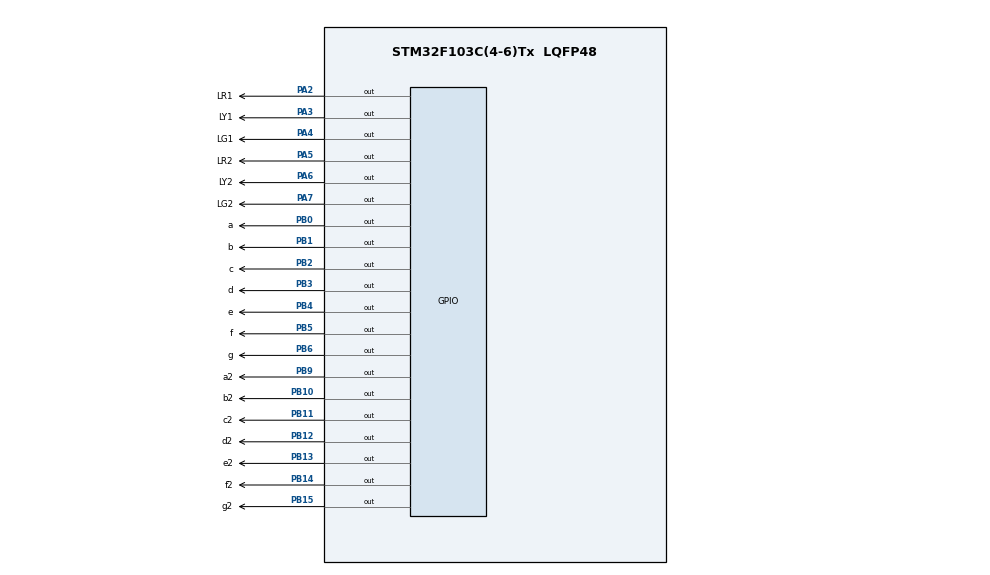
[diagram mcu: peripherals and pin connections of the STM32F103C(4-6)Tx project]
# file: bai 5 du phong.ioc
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Mcu.Family=STM32F1
Mcu.Name=STM32F103C(4-6)Tx
Mcu.Package=LQFP48
NVIC.PriorityGroup=NVIC_PRIORITYGROUP_4
PA2.GPIO_Label=LR1
PA2.Signal=GPIO_Output
PA3.GPIO_Label=LY1
PA3.Signal=GPIO_Output
PA4.GPIO_Label=LG1
PA4.Signal=GPIO_Output
PA5.GPIO_Label=LR2
PA5.Signal=GPIO_Output
PA6.GPIO_Label=LY2
PA6.Signal=GPIO_Output
PA7.GPIO_Label=LG2
PA7.Signal=GPIO_Output
PB0.GPIO_Label=a
PB0.Signal=GPIO_Output
PB1.GPIO_Label=b
PB1.Signal=GPIO_Output
PB10.GPIO_Label=b2
PB10.Signal=GPIO_Output
PB11.GPIO_Label=c2
PB11.Signal=GPIO_Output
PB12.GPIO_Label=d2
PB12.Signal=GPIO_Output
PB13.GPIO_Label=e2
PB13.Signal=GPIO_Output
PB14.GPIO_Label=f2
PB14.Signal=GPIO_Output
PB15.GPIO_Label=g2
PB15.Signal=GPIO_Output
PB2.GPIO_Label=c
PB2.Signal=GPIO_Output
PB3.GPIO_Label=d
PB3.Signal=GPIO_Output
PB4.GPIO_Label=e
PB4.Signal=GPIO_Output
PB5.GPIO_Label=f
PB5.Signal=GPIO_Output
PB6.GPIO_Label=g
PB6.Signal=GPIO_Output
PB9.GPIO_Label=a2
PB9.Signal=GPIO_Output
ProjectManager.HeapSize=0x200
ProjectManager.StackSize=0x400
ProjectManager.TargetToolchain=STM32CubeIDE
RCC.APB1Freq_Value=8000000
RCC.APB2Freq_Value=8000000
board=custom

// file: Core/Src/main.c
/* USER CODE BEGIN Header */
/**
  ******************************************************************************
  * @file           : main.c
  * @brief          : Main program body
  ******************************************************************************
  * @attention
  *
  * Copyright (c) 2024 STMicroelectronics.
  * All rights reserved.
  *
  * This software is licensed under terms that can be found in the LICENSE file
  * in the root directory of this software component.
  * If no LICENSE file comes with this software, it is provided AS-IS.
  *
  ******************************************************************************
  */
/* USER CODE END Header */
#include "main.h"

void SystemClock_Config(void);
static void MX_GPIO_Init(void);

/* USER CODE BEGIN 0 */
void display7SEG(int num) {
	  HAL_GPIO_WritePin(GPIOB,a_Pin,GPIO_PIN_SET);
	  HAL_GPIO_WritePin(GPIOB,b_Pin,GPIO_PIN_SET);
	  HAL_GPIO_WritePin(GPIOB,c_Pin,GPIO_PIN_SET);
	  HAL_GPIO_WritePin(GPIOB,d_Pin,GPIO_PIN_SET);
	  HAL_GPIO_WritePin(GPIOB,e_Pin,GPIO_PIN_SET);
	  HAL_GPIO_WritePin(GPIOB,f_Pin,GPIO_PIN_SET);
	  HAL_GPIO_WritePin(GPIOB,g_Pin,GPIO_PIN_SET);
    switch (num) {
        case 0:
            //printf("Segments: a, b, c, d, e, f\n");
      	  HAL_GPIO_WritePin(GPIOB,a_Pin,GPIO_PIN_RESET);
      	  HAL_GPIO_WritePin(GPIOB,b_Pin,GPIO_PIN_RESET);
      	  HAL_GPIO_WritePin(GPIOB,c_Pin,GPIO_PIN_RESET);
      	  HAL_GPIO_WritePin(GPIOB,d_Pin,GPIO_PIN_RESET);
      	  HAL_GPIO_WritePin(GPIOB,e_Pin,GPIO_PIN_RESET);
      	  HAL_GPIO_WritePin(GPIOB,f_Pin,GPIO_PIN_RESET);
      	  HAL_GPIO_WritePin(GPIOB,g_Pin,GPIO_PIN_SET);
            break;
        case 1:
//              printf("Segments: b, c\n");
      	  HAL_GPIO_WritePin(GPIOB,a_Pin,GPIO_PIN_SET);
      	  HAL_GPIO_WritePin(GPIOB,b_Pin,GPIO_PIN_RESET);
      	  HAL_GPIO_WritePin(GPIOB,c_Pin,GPIO_PIN_RESET);
      	  HAL_GPIO_WritePin(GPIOB,d_Pin,GPIO_PIN_SET);
      	  HAL_GPIO_WritePin(GPIOB,e_Pin,GPIO_PIN_SET);
      	  HAL_GPIO_WritePin(GPIOB,f_Pin,GPIO_PIN_SET);
      	  HAL_GPIO_WritePin(GPIOB,g_Pin,GPIO_PIN_SET);
            break;
        case 2:
//              printf("Segments: a, b, d, e, g\n");
      	  HAL_GPIO_WritePin(GPIOB,a_Pin,GPIO_PIN_RESET);
      	  HAL_GPIO_WritePin(GPIOB,b_Pin,GPIO_PIN_RESET);
      	  HAL_GPIO_WritePin(GPIOB,c_Pin,GPIO_PIN_SET);
      	  HAL_GPIO_WritePin(GPIOB,d_Pin,GPIO_PIN_RESET);
      	  HAL_GPIO_WritePin(GPIOB,e_Pin,GPIO_PIN_RESET);
      	  HAL_GPIO_WritePin(GPIOB,f_Pin,GPIO_PIN_SET);
      	  HAL_GPIO_WritePin(GPIOB,g_Pin,GPIO_PIN_RESET);
            break;
        case 3:
//              printf("Segments: a, b, c, d, g\n");
      	  HAL_GPIO_WritePin(GPIOB,a_Pin,GPIO_PIN_RESET);
      	  HAL_GPIO_WritePin(GPIOB,b_Pin,GPIO_PIN_RESET);
      	  HAL_GPIO_WritePin(GPIOB,c_Pin,GPIO_PIN_RESET);
      	  HAL_GPIO_WritePin(GPIOB,d_Pin,GPIO_PIN_RESET);
      	  HAL_GPIO_WritePin(GPIOB,e_Pin,GPIO_PIN_SET);
      	  HAL_GPIO_WritePin(GPIOB,f_Pin,GPIO_PIN_SET);
      	  HAL_GPIO_WritePin(GPIOB,g_Pin,GPIO_PIN_RESET);
            break;
        case 4:
//              printf("Segments: b, c, f, g\n");
      	  HAL_GPIO_WritePin(GPIOB,a_Pin,GPIO_PIN_SET);
      	  HAL_GPIO_WritePin(GPIOB,b_Pin,GPIO_PIN_RESET);
      	  HAL_GPIO_WritePin(GPIOB,c_Pin,GPIO_PIN_RESET);
      	  HAL_GPIO_WritePin(GPIOB,d_Pin,GPIO_PIN_SET);
      	  HAL_GPIO_WritePin(GPIOB,e_Pin,GPIO_PIN_SET);
      	  HAL_GPIO_WritePin(GPIOB,f_Pin,GPIO_PIN_RESET);
      	  HAL_GPIO_WritePin(GPIOB,g_Pin,GPIO_PIN_RESET);
            break;
        case 5:
//              printf("Segments: a, c, d, f, g\n");
      	  HAL_GPIO_WritePin(GPIOB,a_Pin,GPIO_PIN_RESET);
      	  HAL_GPIO_WritePin(GPIOB,b_Pin,GPIO_PIN_SET);
      	  HAL_GPIO_WritePin(GPIOB,c_Pin,GPIO_PIN_RESET);
      	  HAL_GPIO_WritePin(GPIOB,d_Pin,GPIO_PIN_RESET);
      	  HAL_GPIO_WritePin(GPIOB,e_Pin,GPIO_PIN_SET);
      	  HAL_GPIO_WritePin(GPIOB,f_Pin,GPIO_PIN_RESET);
      	  HAL_GPIO_WritePin(GPIOB,g_Pin,GPIO_PIN_RESET);
            break;
        case 6:
//              printf("Segments: a, c, d, e, f, g\n");
      	  HAL_GPIO_WritePin(a_GPIO_Port,a_Pin,GPIO_PIN_RESET);
      	  HAL_GPIO_WritePin(b_GPIO_Port,b_Pin,GPIO_PIN_SET);
      	  HAL_GPIO_WritePin(c_GPIO_Port,c_Pin,GPIO_PIN_RESET);
      	  HAL_GPIO_WritePin(d_GPIO_Port,d_Pin,GPIO_PIN_RESET);
      	  HAL_GPIO_WritePin(e_GPIO_Port,e_Pin,GPIO_PIN_RESET);
      	  HAL_GPIO_WritePin(f_GPIO_Port,f_Pin,GPIO_PIN_RESET);
      	  HAL_GPIO_WritePin(g_GPIO_Port,g_Pin,GPIO_PIN_RESET);
            break;
        case 7:
//              printf("Segments: a, b, c\n");
      	  HAL_GPIO_WritePin(a_GPIO_Port,a_Pin,GPIO_PIN_RESET);
      	  HAL_GPIO_WritePin(b_GPIO_Port,b_Pin,GPIO_PIN_RESET);
      	  HAL_GPIO_WritePin(c_GPIO_Port,c_Pin,GPIO_PIN_RESET);
      	  HAL_GPIO_WritePin(d_GPIO_Port,d_Pin,GPIO_PIN_SET);
      	  HAL_GPIO_WritePin(e_GPIO_Port,e_Pin,GPIO_PIN_SET);
      	  HAL_GPIO_WritePin(f_GPIO_Port,f_Pin,GPIO_PIN_SET);
      	  HAL_GPIO_WritePin(g_GPIO_Port,g_Pin,GPIO_PIN_SET);
            break;
        case 8:
//              printf("Segments: a, b, c, d, e, f, g\n");
      	  HAL_GPIO_WritePin(a_GPIO_Port,a_Pin,GPIO_PIN_RESET);
      	  HAL_GPIO_WritePin(b_GPIO_Port,b_Pin,GPIO_PIN_RESET);
      	  HAL_GPIO_WritePin(c_GPIO_Port,c_Pin,GPIO_PIN_RESET);
      	  HAL_GPIO_WritePin(d_GPIO_Port,d_Pin,GPIO_PIN_RESET);
      	  HAL_GPIO_WritePin(e_GPIO_Port,e_Pin,GPIO_PIN_RESET);
      	  HAL_GPIO_WritePin(f_GPIO_Port,f_Pin,GPIO_PIN_RESET);
      	  HAL_GPIO_WritePin(g_GPIO_Port,g_Pin,GPIO_PIN_RESET);
            break;
        case 9:
//              printf("Segments: a, b, c, d, f, g\n");
      	  HAL_GPIO_WritePin(a_GPIO_Port,a_Pin,GPIO_PIN_RESET);
      	  HAL_GPIO_WritePin(b_GPIO_Port,b_Pin,GPIO_PIN_RESET);
      	  HAL_GPIO_WritePin(c_GPIO_Port,c_Pin,GPIO_PIN_RESET);
      	  HAL_GPIO_WritePin(d_GPIO_Port,d_Pin,GPIO_PIN_RESET);
      	  HAL_GPIO_WritePin(e_GPIO_Port,e_Pin,GPIO_PIN_SET);
      	  HAL_GPIO_WritePin(f_GPIO_Port,f_Pin,GPIO_PIN_RESET);
      	  HAL_GPIO_WritePin(g_GPIO_Port,g_Pin,GPIO_PIN_RESET);
            break;
        default:
        	  HAL_GPIO_WritePin(GPIOB,a_Pin,GPIO_PIN_RESET);
        	  HAL_GPIO_WritePin(GPIOB,b_Pin,GPIO_PIN_RESET);
        	  HAL_GPIO_WritePin(GPIOB,c_Pin,GPIO_PIN_RESET);
        	  HAL_GPIO_WritePin(GPIOB,d_Pin,GPIO_PIN_RESET);
        	  HAL_GPIO_WritePin(GPIOB,e_Pin,GPIO_PIN_RESET);
        	  HAL_GPIO_WritePin(GPIOB,f_Pin,GPIO_PIN_RESET);
        	  HAL_GPIO_WritePin(GPIOB,g_Pin,GPIO_PIN_RESET);
//      	  break;
    }
}

  void display7SEG2(int num) {
      switch (num) {
          case 0:
              //printf("Segments: a, b, c, d, e, f\n");
        	  HAL_GPIO_WritePin(a2_GPIO_Port,a2_Pin,GPIO_PIN_RESET);
        	  HAL_GPIO_WritePin(b2_GPIO_Port,b2_Pin,GPIO_PIN_RESET);
        	  HAL_GPIO_WritePin(c2_GPIO_Port,c2_Pin,GPIO_PIN_RESET);
        	  HAL_GPIO_WritePin(d2_GPIO_Port,d2_Pin,GPIO_PIN_RESET);
        	  HAL_GPIO_WritePin(e2_GPIO_Port,e2_Pin,GPIO_PIN_RESET);
        	  HAL_GPIO_WritePin(f2_GPIO_Port,f2_Pin,GPIO_PIN_RESET);
        	  HAL_GPIO_WritePin(g2_GPIO_Port,g2_Pin,GPIO_PIN_SET);
              break;
          case 1:
//              printf("Segments: b, c\n");
        	  HAL_GPIO_WritePin(a2_GPIO_Port,a2_Pin,GPIO_PIN_SET);
        	  HAL_GPIO_WritePin(b2_GPIO_Port,b2_Pin,GPIO_PIN_RESET);
        	  HAL_GPIO_WritePin(c2_GPIO_Port,c2_Pin,GPIO_PIN_RESET);
        	  HAL_GPIO_WritePin(d2_GPIO_Port,d2_Pin,GPIO_PIN_SET);
        	  HAL_GPIO_WritePin(e2_GPIO_Port,e2_Pin,GPIO_PIN_SET);
        	  HAL_GPIO_WritePin(f2_GPIO_Port,f2_Pin,GPIO_PIN_SET);
        	  HAL_GPIO_WritePin(g2_GPIO_Port,g2_Pin,GPIO_PIN_SET);
              break;
          case 2:
//              printf("Segments: a, b, d, e, g\n");
        	  HAL_GPIO_WritePin(a2_GPIO_Port,a2_Pin,GPIO_PIN_RESET);
        	  HAL_GPIO_WritePin(b2_GPIO_Port,b2_Pin,GPIO_PIN_RESET);
        	  HAL_GPIO_WritePin(c2_GPIO_Port,c2_Pin,GPIO_PIN_SET);
        	  HAL_GPIO_WritePin(d2_GPIO_Port,d2_Pin,GPIO_PIN_RESET);
        	  HAL_GPIO_WritePin(e2_GPIO_Port,e2_Pin,GPIO_PIN_RESET);
        	  HAL_GPIO_WritePin(f2_GPIO_Port,f2_Pin,GPIO_PIN_SET);
        	  HAL_GPIO_WritePin(g2_GPIO_Port,g2_Pin,GPIO_PIN_RESET);
              break;
          case 3:
//              printf("Segments: a, b, c, d, g\n");
        	  HAL_GPIO_WritePin(a2_GPIO_Port,a2_Pin,GPIO_PIN_RESET);
        	  HAL_GPIO_WritePin(b2_GPIO_Port,b2_Pin,GPIO_PIN_RESET);
        	  HAL_GPIO_WritePin(c2_GPIO_Port,c2_Pin,GPIO_PIN_RESET);
        	  HAL_GPIO_WritePin(d2_GPIO_Port,d2_Pin,GPIO_PIN_RESET);
        	  HAL_GPIO_WritePin(e2_GPIO_Port,e2_Pin,GPIO_PIN_SET);
        	  HAL_GPIO_WritePin(f2_GPIO_Port,f2_Pin,GPIO_PIN_SET);
        	  HAL_GPIO_WritePin(g2_GPIO_Port,g2_Pin,GPIO_PIN_RESET);
              break;
          case 4:
//              printf("Segments: b, c, f, g\n");
        	  HAL_GPIO_WritePin(a2_GPIO_Port,a2_Pin,GPIO_PIN_SET);
        	  HAL_GPIO_WritePin(b2_GPIO_Port,b2_Pin,GPIO_PIN_RESET);
        	  HAL_GPIO_WritePin(c2_GPIO_Port,c2_Pin,GPIO_PIN_RESET);
        	  HAL_GPIO_WritePin(d2_GPIO_Port,d2_Pin,GPIO_PIN_SET);
        	  HAL_GPIO_WritePin(e2_GPIO_Port,e2_Pin,GPIO_PIN_SET);
        	  HAL_GPIO_WritePin(f2_GPIO_Port,f2_Pin,GPIO_PIN_RESET);
        	  HAL_GPIO_WritePin(g2_GPIO_Port,g2_Pin,GPIO_PIN_RESET);
              break;
          case 5:
//              printf("Segments: a, c, d, f, g\n");
        	  HAL_GPIO_WritePin(a2_GPIO_Port,a2_Pin,GPIO_PIN_RESET);
        	  HAL_GPIO_WritePin(b2_GPIO_Port,b2_Pin,GPIO_PIN_SET);
        	  HAL_GPIO_WritePin(c2_GPIO_Port,c2_Pin,GPIO_PIN_RESET);
        	  HAL_GPIO_WritePin(d2_GPIO_Port,d2_Pin,GPIO_PIN_RESET);
        	  HAL_GPIO_WritePin(e2_GPIO_Port,e2_Pin,GPIO_PIN_SET);
        	  HAL_GPIO_WritePin(f2_GPIO_Port,f2_Pin,GPIO_PIN_RESET);
        	  HAL_GPIO_WritePin(g2_GPIO_Port,g2_Pin,GPIO_PIN_RESET);
              break;
          case 6:
//              printf("Segments: a, c, d, e, f, g\n");
        	  HAL_GPIO_WritePin(a2_GPIO_Port,a2_Pin,GPIO_PIN_RESET);
        	  HAL_GPIO_WritePin(b2_GPIO_Port,b2_Pin,GPIO_PIN_SET);
        	  HAL_GPIO_WritePin(c2_GPIO_Port,c2_Pin,GPIO_PIN_RESET);
        	  HAL_GPIO_WritePin(d2_GPIO_Port,d2_Pin,GPIO_PIN_RESET);
        	  HAL_GPIO_WritePin(e2_GPIO_Port,e2_Pin,GPIO_PIN_RESET);
        	  HAL_GPIO_WritePin(f2_GPIO_Port,f2_Pin,GPIO_PIN_RESET);
        	  HAL_GPIO_WritePin(g2_GPIO_Port,g2_Pin,GPIO_PIN_RESET);
              break;
          case 7:
//              printf("Segments: a, b, c\n");
        	  HAL_GPIO_WritePin(a2_GPIO_Port,a2_Pin,GPIO_PIN_RESET);
        	  HAL_GPIO_WritePin(b2_GPIO_Port,b2_Pin,GPIO_PIN_RESET);
        	  HAL_GPIO_WritePin(c2_GPIO_Port,c2_Pin,GPIO_PIN_RESET);
        	  HAL_GPIO_WritePin(d2_GPIO_Port,d2_Pin,GPIO_PIN_SET);
        	  HAL_GPIO_WritePin(e2_GPIO_Port,e2_Pin,GPIO_PIN_SET);
        	  HAL_GPIO_WritePin(f2_GPIO_Port,f2_Pin,GPIO_PIN_SET);
        	  HAL_GPIO_WritePin(g2_GPIO_Port,g2_Pin,GPIO_PIN_SET);
              break;
          case 8:
//              printf("Segments: a, b, c, d, e, f, g\n");
        	  HAL_GPIO_WritePin(a2_GPIO_Port,a2_Pin,GPIO_PIN_RESET);
        	  HAL_GPIO_WritePin(b2_GPIO_Port,b2_Pin,GPIO_PIN_RESET);
        	  HAL_GPIO_WritePin(c2_GPIO_Port,c2_Pin,GPIO_PIN_RESET);
        	  HAL_GPIO_WritePin(d2_GPIO_Port,d2_Pin,GPIO_PIN_RESET);
        	  HAL_GPIO_WritePin(e2_GPIO_Port,e2_Pin,GPIO_PIN_RESET);
        	  HAL_GPIO_WritePin(f2_GPIO_Port,f2_Pin,GPIO_PIN_RESET);
        	  HAL_GPIO_WritePin(g2_GPIO_Port,g2_Pin,GPIO_PIN_RESET);
              break;
          case 9:
//              printf("Segments: a, b, c, d, f, g\n");
        	  HAL_GPIO_WritePin(a2_GPIO_Port,a2_Pin,GPIO_PIN_RESET);
        	  HAL_GPIO_WritePin(b2_GPIO_Port,b2_Pin,GPIO_PIN_RESET);
        	  HAL_GPIO_WritePin(c2_GPIO_Port,c2_Pin,GPIO_PIN_RESET);
        	  HAL_GPIO_WritePin(d2_GPIO_Port,d2_Pin,GPIO_PIN_RESET);
        	  HAL_GPIO_WritePin(e2_GPIO_Port,e2_Pin,GPIO_PIN_SET);
        	  HAL_GPIO_WritePin(f2_GPIO_Port,f2_Pin,GPIO_PIN_RESET);
        	  HAL_GPIO_WritePin(g2_GPIO_Port,g2_Pin,GPIO_PIN_RESET);
              break;
          default:
      }
  }

/* USER CODE END 0 */

int main(void)
{

  /* MCU Configuration--------------------------------------------------------*/

  /* Reset of all peripherals, Initializes the Flash interface and the Systick. */
  HAL_Init();

  /* Configure the system clock */
  SystemClock_Config();

  /* Initialize all configured peripherals */
  MX_GPIO_Init();
  /* USER CODE BEGIN 2 */
  int counter=0;

  /* USER CODE END 2 */

  /* Infinite loop */
  /* USER CODE BEGIN WHILE */
  //b3 new
  #define RED 0
  #define YELLOW 1
  #define GREEN 2

//  int counter=0; //b3,5
  int led_status = RED;
  int countdown = 0; //b5
  int countdown2 = 3;

  while (1)
  {
    /* USER CODE END WHILE */
//	  if( counter >= 10) counter = 0;
//	  display7SEG ( counter ++) ;
//	  HAL_Delay (1000) ;

	  	  	  switch (led_status){
	  	  case RED: //red 2 side green up down
	  		  	  HAL_GPIO_WritePin(LR1_GPIO_Port,LR1_Pin,GPIO_PIN_SET);
	  		  	  HAL_GPIO_WritePin(LY1_GPIO_Port,LY1_Pin,GPIO_PIN_RESET);
	  		  	  HAL_GPIO_WritePin(LG1_GPIO_Port,LG1_Pin,GPIO_PIN_RESET);

	  		  	  HAL_GPIO_WritePin(LR2_GPIO_Port,LR2_Pin,GPIO_PIN_RESET);
	  		  	  HAL_GPIO_WritePin(LY2_GPIO_Port,LY2_Pin,GPIO_PIN_RESET);
	  		  	  HAL_GPIO_WritePin(LG2_GPIO_Port,LG2_Pin,GPIO_PIN_SET);

	  		  	  countdown = 5 - counter;
//	  		  	  countdown2= 3 - counter;
	  		  	  display7SEG(countdown);
	  		  	  if(countdown2==0){
	  		  		  countdown2=2;
	  		  	  }
	  		  	  display7SEG2(countdown2);
	  		  	  counter++;
	  		  	  countdown2--;

	  		  	  if(counter >3){ //green up down -> yellow
	  		  		  HAL_GPIO_WritePin(LR2_GPIO_Port,LR2_Pin,GPIO_PIN_RESET);
	  		  		  HAL_GPIO_WritePin(LY2_GPIO_Port,LY2_Pin,GPIO_PIN_SET);
	  		  		  HAL_GPIO_WritePin(LG2_GPIO_Port,LG2_Pin,GPIO_PIN_RESET);
	  		  		  //countdown2= 2 - counter;
	  		  		  //display7SEG2(countdown2);
	  		  	  }
	  		  	  if(counter ==5){
	  		  		  led_status = GREEN;
	  		  		  counter = 0;
	  		  	  }
	  		  	  break;
	  	  case GREEN:
	  		  //red 2 side -> green, yellow up down -> red

	  	  	  	  HAL_GPIO_WritePin(LR1_GPIO_Port,LR1_Pin,GPIO_PIN_RESET);
	  			  HAL_GPIO_WritePin(LY1_GPIO_Port,LY1_Pin,GPIO_PIN_RESET);
	  			  HAL_GPIO_WritePin(LG1_GPIO_Port,LG1_Pin,GPIO_PIN_SET);

	  			  HAL_GPIO_WritePin(LR2_GPIO_Port,LR2_Pin,GPIO_PIN_SET);
	  			  HAL_GPIO_WritePin(LY2_GPIO_Port,LY2_Pin,GPIO_PIN_RESET);
	  			  HAL_GPIO_WritePin(LG2_GPIO_Port,LG2_Pin,GPIO_PIN_RESET);

	  			  countdown = 3 - counter;
//	  			  countdown2= 5 - counter;
	  			  display7SEG(countdown);
//	  			  display7SEG2(countdown2);
	  			if(countdown2==0){
	  		countdown2=5;	  		  	  }
	  		display7SEG2(countdown2);

	  			  counter++;
	  			  countdown2--;
	  			  if(counter ==3){
	  				  led_status = YELLOW;
	  				  counter =0;
	  			  }
	  			  break;
	  	  case YELLOW:
	  		  //red 2 side -> yellow, red up down same
	  			  HAL_GPIO_WritePin(LR1_GPIO_Port,LR1_Pin,GPIO_PIN_RESET);
	  			  HAL_GPIO_WritePin(LY1_GPIO_Port,LY1_Pin,GPIO_PIN_SET);
	  			  HAL_GPIO_WritePin(LG1_GPIO_Port,LG1_Pin,GPIO_PIN_RESET);

	  			  HAL_GPIO_WritePin(LR2_GPIO_Port,LR2_Pin,GPIO_PIN_SET);
	  			  HAL_GPIO_WritePin(LY2_GPIO_Port,LY2_Pin,GPIO_PIN_RESET);
	  			  HAL_GPIO_WritePin(LG2_GPIO_Port,LG2_Pin,GPIO_PIN_RESET);

	  			  countdown = 2 - counter;
	  			  display7SEG(countdown);
	  			if(countdown2==0){
	  			countdown2=3;
	  				  		  	  }
	  			display7SEG2(countdown2);
	  			  counter++;
	  			  countdown2--;

	  			  if(counter ==2){
	  			  led_status = RED;
	  			  counter =0;
	  			  countdown2=3;
	  			  }
	  			  break;
	  	  default:
	  		  	  break;
	  	  }
	  		  	  HAL_Delay(1000);

  }
}

void SystemClock_Config(void)
{
  RCC_OscInitTypeDef RCC_OscInitStruct = {0};
  RCC_ClkInitTypeDef RCC_ClkInitStruct = {0};

  /** Initializes the RCC Oscillators according to the specified parameters
  * in the RCC_OscInitTypeDef structure.
  */
  RCC_OscInitStruct.OscillatorType = RCC_OSCILLATORTYPE_HSI;
  RCC_OscInitStruct.HSIState = RCC_HSI_ON;
  RCC_OscInitStruct.HSICalibrationValue = RCC_HSICALIBRATION_DEFAULT;
  RCC_OscInitStruct.PLL.PLLState = RCC_PLL_NONE;
  if (HAL_RCC_OscConfig(&RCC_OscInitStruct) != HAL_OK)
  {
    Error_Handler();
  }

  /** Initializes the CPU, AHB and APB buses clocks
  */
  RCC_ClkInitStruct.ClockType = RCC_CLOCKTYPE_HCLK|RCC_CLOCKTYPE_SYSCLK
                              |RCC_CLOCKTYPE_PCLK1|RCC_CLOCKTYPE_PCLK2;
  RCC_ClkInitStruct.SYSCLKSource = RCC_SYSCLKSOURCE_HSI;
  RCC_ClkInitStruct.AHBCLKDivider = RCC_SYSCLK_DIV1;
  RCC_ClkInitStruct.APB1CLKDivider = RCC_HCLK_DIV1;
  RCC_ClkInitStruct.APB2CLKDivider = RCC_HCLK_DIV1;

  if (HAL_RCC_ClockConfig(&RCC_ClkInitStruct, FLASH_LATENCY_0) != HAL_OK)
  {
    Error_Handler();
  }
}

static void MX_GPIO_Init(void)
{
  GPIO_InitTypeDef GPIO_InitStruct = {0};

  /* GPIO Ports Clock Enable */
  __HAL_RCC_GPIOA_CLK_ENABLE();
  __HAL_RCC_GPIOB_CLK_ENABLE();

  /*Configure GPIO pin Output Level */
  HAL_GPIO_WritePin(GPIOA, LR1_Pin|LY1_Pin|LG1_Pin|LR2_Pin
                          |LY2_Pin|LG2_Pin, GPIO_PIN_RESET);

  /*Configure GPIO pin Output Level */
  HAL_GPIO_WritePin(GPIOB, a_Pin|b_Pin|c_Pin|b2_Pin
                          |c2_Pin|d2_Pin|e2_Pin|f2_Pin
                          |g2_Pin|d_Pin|e_Pin|f_Pin
                          |g_Pin|a2_Pin, GPIO_PIN_RESET);

  /*Configure GPIO pins : LR1_Pin LY1_Pin LG1_Pin LR2_Pin
                           LY2_Pin LG2_Pin */
  GPIO_InitStruct.Pin = LR1_Pin|LY1_Pin|LG1_Pin|LR2_Pin
                          |LY2_Pin|LG2_Pin;
  GPIO_InitStruct.Mode = GPIO_MODE_OUTPUT_PP;
  GPIO_InitStruct.Pull = GPIO_NOPULL;
  GPIO_InitStruct.Speed = GPIO_SPEED_FREQ_LOW;
  HAL_GPIO_Init(GPIOA, &GPIO_InitStruct);

  /*Configure GPIO pins : a_Pin b_Pin c_Pin b2_Pin
                           c2_Pin d2_Pin e2_Pin f2_Pin
                           g2_Pin d_Pin e_Pin f_Pin
                           g_Pin a2_Pin */
  GPIO_InitStruct.Pin = a_Pin|b_Pin|c_Pin|b2_Pin
                          |c2_Pin|d2_Pin|e2_Pin|f2_Pin
                          |g2_Pin|d_Pin|e_Pin|f_Pin
                          |g_Pin|a2_Pin;
  GPIO_InitStruct.Mode = GPIO_MODE_OUTPUT_PP;
  GPIO_InitStruct.Pull = GPIO_NOPULL;
  GPIO_InitStruct.Speed = GPIO_SPEED_FREQ_LOW;
  HAL_GPIO_Init(GPIOB, &GPIO_InitStruct);

}

void Error_Handler(void)
{
  __disable_irq();
  while (1)
  {
  }
}
